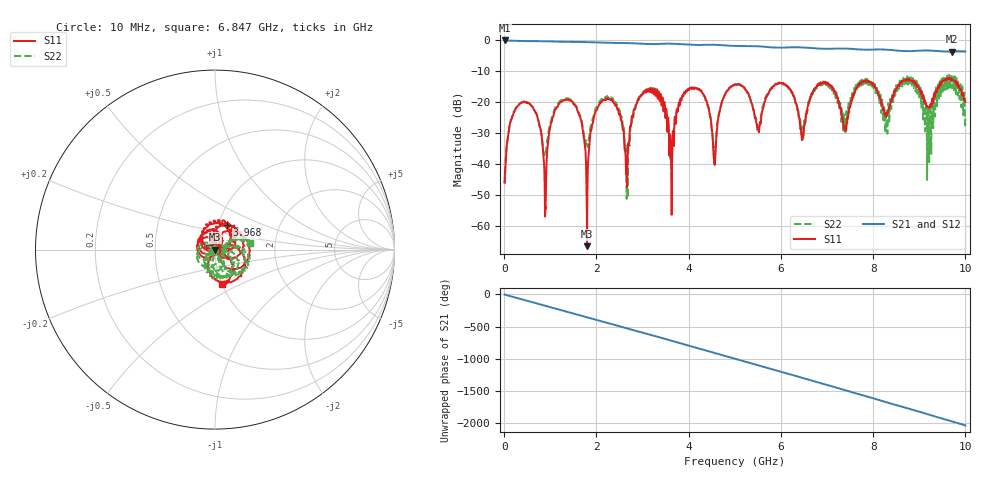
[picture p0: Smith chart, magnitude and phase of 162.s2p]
!Keysight Technologies,E5080B,MY59205177,A.15.75.32
!Date: Friday, February 23, 2024 03:42:19
!Correction: S11(Cdelta 2-Port  )
!S21(Cdelta 2-Port  )
!S12(Cdelta 2-Port  )
!S22(Cdelta 2-Port  )
!S2P File: Measurements: S11, S21, S12, S22:
# Hz S  dB  R 50
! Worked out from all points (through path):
!   10001 points, 10 MHz to 10 GHz, reference 50 ohm
!   highest |S21| = -0.01 dB at 10 MHz (marker M1); lowest = -3.7 dB at 9.701 GHz (marker M2)
!   group delay of S21, straight-line fit = 566 ps
!   lowest |S11| = -66.6 dB at 1.797 GHz (marker M3), VSWR 1.00, Z = 50 + j0.0467 ohm
!   |S11| at or under -10 dB: start of sweep to end of sweep
!   |S22| runs from -51.3 to -11.1 dB; largest |S21 - S12| = 0.0015
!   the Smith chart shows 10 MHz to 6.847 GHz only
!   S11 on the Smith chart (normalised r, x): 10 MHz: 1.01, -0.00; 3.968 GHz: 1.10, +0.30; 6.847 GHz: 1.00, -0.40
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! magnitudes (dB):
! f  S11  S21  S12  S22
! 10 MHz  -46.0  0.0  0.0  -45.9
! 373.6 MHz  -20.1  -0.2  -0.2  -20.0
! 888.1 MHz  -56.8  -0.3  -0.3  -37.2
! 1.176 GHz  -20.8  -0.4  -0.4  -20.2
! 1.675 GHz  -26.2  -0.5  -0.5  -25.7
! 1.797 GHz  -66.6  -0.5  -0.5  -33.5
! 2.108 GHz  -19.8  -0.7  -0.7  -19.0
! 2.664 GHz  -47.6  -0.9  -0.9  -43.1
! 2.907 GHz  -19.3  -1.0  -1.0  -18.8
! 3.341 GHz  -17.5  -1.1  -1.1  -17.6
! 3.627 GHz  -46.9  -1.1  -1.1  -41.6
! 3.968 GHz  -16.4  -1.3  -1.3  -16.1
! 4.562 GHz  -40.1  -1.4  -1.4  -38.4
! 5.005 GHz  -14.1  -1.8  -1.8  -14.4
! 5.515 GHz  -29.3  -1.9  -1.9  -28.7
! 6.107 GHz  -14.6  -2.3  -2.3  -14.7
! 6.464 GHz  -31.7  -2.3  -2.3  -27.7
! 6.67 GHz  -17.4  -2.5  -2.5  -17.0
! 6.847 GHz  -14.1  -2.7  -2.7  -14.1
! 8.336 GHz  -22.6  -3.0  -3.0  -20.9
! 9.701 GHz  -12.2  -3.7  -3.7  -13.8
! 10 GHz  -19.9  -3.6  -3.6  -25.3
